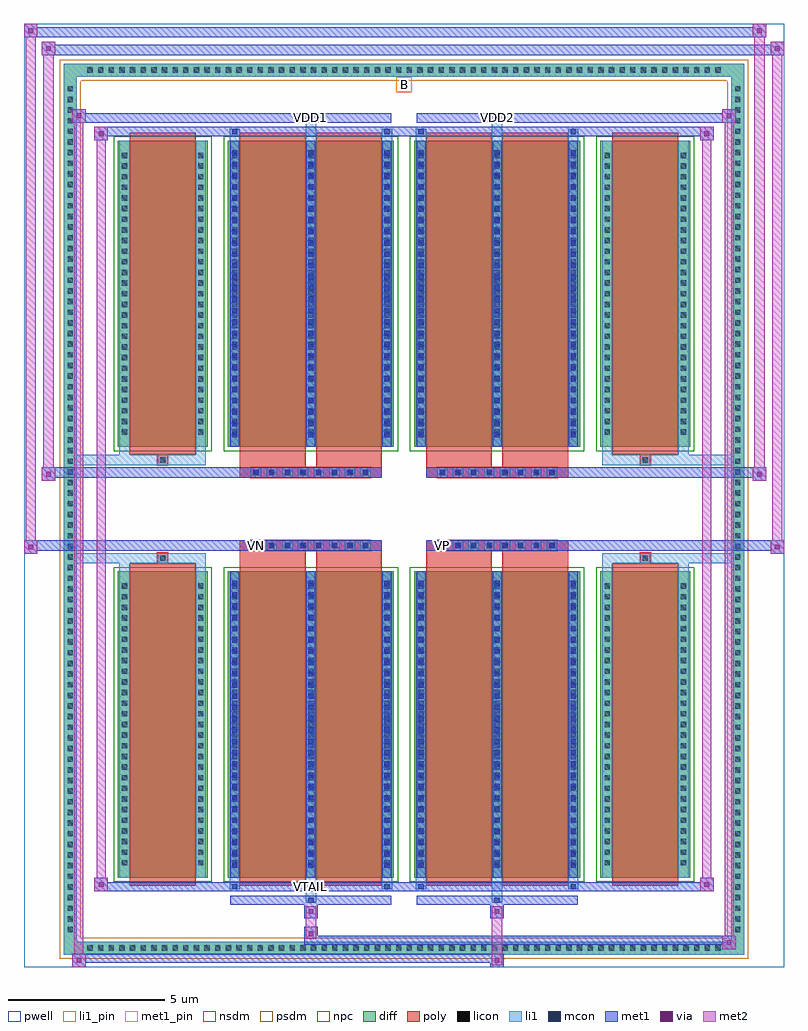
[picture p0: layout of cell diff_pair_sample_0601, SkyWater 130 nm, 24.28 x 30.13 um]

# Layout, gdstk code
import gdstk
lib = gdstk.Library(unit=1e-6, precision=5e-09)
def R(c, l, rs):  # rectangles x0, y0, x1, y1
    for r in rs: c.add(gdstk.rectangle(r[:2], r[2:], *l))
def A(c, l, x, y, w, h, nx, ny, dx, dy):  # array of equal rectangles
    R(c, l, [(x+i*dx, y+j*dy, x+i*dx+w, y+j*dy+h) for i in range(nx) for j in range(ny)])
def P(c, l, *ps):  # polygons
    for p in ps: c.add(gdstk.Polygon(p, *l))
pwell = (64, 44)
diff = (65, 20)
poly = (66, 20)
licon = (66, 44)
li1_pin = (67, 16)
li1 = (67, 20)
mcon = (67, 44)
met1_pin = (68, 16)
met1 = (68, 20)
via = (68, 44)
met2 = (69, 20)
nsdm = (93, 44)
psdm = (94, 20)
npc = (95, 20)

diff_pair_sample_0601 = lib.new_cell('diff_pair_sample_0601')
R(diff_pair_sample_0601, pwell, [(-12.14,-14.63,12.14,15.5), (-9.46,-12.82,-0.01,-0.8), (0.01,-12.82,9.46,-0.8), (-9.46,0.8,-0.01,12.82), (0.01,0.8,9.46,12.82)])
A(diff_pair_sample_0601, diff, -10.235, -14.23, 0.41, 0.41, 60, 2, 0.34, 28.05)
A(diff_pair_sample_0601, diff, -10.87, -13.635, 0.41, 0.41, 1, 80, 0, 0.34)
A(diff_pair_sample_0601, diff, 10.46, -13.635, 0.41, 0.41, 1, 80, 0, 0.34)
R(diff_pair_sample_0601, diff, [(-10.235,-14.23,10.235,-13.82), (-10.87,-13.635,-10.46,13.635), (10.46,-13.635,10.87,13.635), (-9.15,-11.775,-6.27,-1.985), (-5.63,-11.775,-0.32,-1.985), (0.32,-11.775,5.63,-1.985), (6.27,-11.775,9.15,-1.985), (-9.15,1.985,-6.27,11.775), (-5.63,1.985,-0.32,11.775), (0.32,1.985,5.63,11.775), (6.27,1.985,9.15,11.775), (-10.235,13.82,10.235,14.23)])
P(diff_pair_sample_0601, diff, [(10.87,14.23),(-10.87,14.23),(-10.87,-13.82),(-10.46,-13.82),(-10.46,13.82),(10.46,13.82),(10.46,-13.82),(-10.46,-13.82),(-10.87,-13.82),(-10.87,-14.23),(10.87,-14.23)])
A(diff_pair_sample_0601, poly, -4.89, -1.33, 0.33, 0.33, 8, 2, 0.5, 2.33)
A(diff_pair_sample_0601, poly, 1.06, -1.33, 0.33, 0.33, 8, 2, 0.5, 2.33)
R(diff_pair_sample_0601, poly, [(-8.76,-12.025,-6.66,-1.735), (-5.24,-12.025,-3.14,-1.735), (-2.81,-12.025,-0.71,-1.735), (0.71,-12.025,2.81,-1.735), (3.14,-12.025,5.24,-1.735), (6.66,-12.025,8.76,-1.735), (-7.875,-1.735,-7.545,-1.405), (-7.875,-1.735,-7.545,-1.405), (-5.24,-1.735,-3.14,-1.33), (-2.81,-1.735,-0.71,-1.33), (0.71,-1.735,2.81,-1.33), (3.14,-1.735,5.24,-1.33), (7.545,-1.735,7.875,-1.405), (7.545,-1.735,7.875,-1.405), (-5.24,-1.33,-0.71,-1), (0.71,-1.33,5.24,-1), (-5.24,1,-0.71,1.33), (0.71,1,5.24,1.33), (-5.24,1.33,-3.14,1.735), (-2.81,1.33,-0.71,1.735), (0.71,1.33,2.81,1.735), (3.14,1.33,5.24,1.735), (-7.875,1.405,-7.545,1.735), (-7.875,1.405,-7.545,1.735), (7.545,1.405,7.875,1.735), (7.545,1.405,7.875,1.735), (-8.76,1.735,-6.66,12.025), (-5.24,1.735,-3.14,12.025), (-2.81,1.735,-0.71,12.025), (0.71,1.735,2.81,12.025), (3.14,1.735,5.24,12.025), (6.66,1.735,8.76,12.025)])
A(diff_pair_sample_0601, licon, -10.115, -14.11, 0.17, 0.17, 60, 2, 0.34, 28.05)
A(diff_pair_sample_0601, licon, -10.75, -13.515, 0.17, 0.17, 1, 80, 0, 0.34)
A(diff_pair_sample_0601, licon, 10.58, -13.515, 0.17, 0.17, 1, 80, 0, 0.34)
A(diff_pair_sample_0601, licon, -9.01, -11.385, 0.17, 0.17, 1, 27, 0, 0.34)
A(diff_pair_sample_0601, licon, -6.58, -11.385, 0.17, 0.17, 1, 27, 0, 0.34)
A(diff_pair_sample_0601, licon, -5.49, -11.385, 0.17, 0.17, 3, 27, 2.43, 0.34)
A(diff_pair_sample_0601, licon, 0.46, -11.385, 0.17, 0.17, 3, 27, 2.43, 0.34)
A(diff_pair_sample_0601, licon, 6.41, -11.385, 0.17, 0.17, 1, 27, 0, 0.34)
A(diff_pair_sample_0601, licon, 8.84, -11.385, 0.17, 0.17, 1, 27, 0, 0.34)
A(diff_pair_sample_0601, licon, -4.81, -1.25, 0.17, 0.17, 8, 2, 0.5, 2.33)
A(diff_pair_sample_0601, licon, 1.14, -1.25, 0.17, 0.17, 8, 2, 0.5, 2.33)
A(diff_pair_sample_0601, licon, -9.01, 2.375, 0.17, 0.17, 1, 27, 0, 0.34)
A(diff_pair_sample_0601, licon, -6.58, 2.375, 0.17, 0.17, 1, 27, 0, 0.34)
A(diff_pair_sample_0601, licon, -5.49, 2.375, 0.17, 0.17, 3, 27, 2.43, 0.34)
A(diff_pair_sample_0601, licon, 0.46, 2.375, 0.17, 0.17, 3, 27, 2.43, 0.34)
A(diff_pair_sample_0601, licon, 6.41, 2.375, 0.17, 0.17, 1, 27, 0, 0.34)
A(diff_pair_sample_0601, licon, 8.84, 2.375, 0.17, 0.17, 1, 27, 0, 0.34)
R(diff_pair_sample_0601, licon, [(-7.795,-1.655,-7.625,-1.485), (7.625,-1.655,7.795,-1.485), (-7.795,1.485,-7.625,1.655), (7.625,1.485,7.795,1.655)])
R(diff_pair_sample_0601, li1_pin, [(-0.25,13.32,0.25,13.82)])
A(diff_pair_sample_0601, li1, -10.195, -14.19, 0.33, 0.33, 60, 2, 0.34, 28.05)
A(diff_pair_sample_0601, li1, -10.83, -13.595, 0.33, 0.33, 1, 80, 0, 0.34)
A(diff_pair_sample_0601, li1, 10.5, -13.595, 0.33, 0.33, 1, 80, 0, 0.34)
A(diff_pair_sample_0601, li1, -5.57, -11.775, 0.33, 9.79, 3, 2, 2.43, 13.76)
A(diff_pair_sample_0601, li1, 0.38, -11.775, 0.33, 9.79, 3, 2, 2.43, 13.76)
A(diff_pair_sample_0601, li1, -9.09, -11.465, 0.33, 0.33, 1, 27, 0, 0.34)
A(diff_pair_sample_0601, li1, -6.66, -11.465, 0.33, 0.33, 1, 27, 0, 0.34)
A(diff_pair_sample_0601, li1, -5.57, -11.465, 0.33, 0.33, 3, 27, 2.43, 0.34)
A(diff_pair_sample_0601, li1, -5.49, -11.465, 0.17, 0.17, 3, 26, 2.43, 0.36)
A(diff_pair_sample_0601, li1, -5.49, -11.465, 0.17, 9.17, 3, 2, 2.43, 13.76)
A(diff_pair_sample_0601, li1, 0.38, -11.465, 0.33, 0.33, 3, 27, 2.43, 0.34)
A(diff_pair_sample_0601, li1, 0.46, -11.465, 0.17, 0.17, 3, 26, 2.43, 0.36)
A(diff_pair_sample_0601, li1, 0.46, -11.465, 0.17, 9.17, 3, 2, 2.43, 13.76)
A(diff_pair_sample_0601, li1, 6.33, -11.465, 0.33, 0.33, 1, 27, 0, 0.34)
A(diff_pair_sample_0601, li1, 8.76, -11.465, 0.33, 0.33, 1, 27, 0, 0.34)
A(diff_pair_sample_0601, li1, -4.89, -1.33, 0.33, 0.33, 8, 2, 0.5, 2.33)
A(diff_pair_sample_0601, li1, 1.06, -1.33, 0.33, 0.33, 8, 2, 0.5, 2.33)
A(diff_pair_sample_0601, li1, -9.09, 2.295, 0.33, 0.33, 1, 27, 0, 0.34)
A(diff_pair_sample_0601, li1, -6.66, 2.295, 0.33, 0.33, 1, 27, 0, 0.34)
A(diff_pair_sample_0601, li1, -5.57, 2.295, 0.33, 0.33, 3, 27, 2.43, 0.34)
A(diff_pair_sample_0601, li1, -5.49, 2.295, 0.17, 0.17, 3, 26, 2.43, 0.36)
A(diff_pair_sample_0601, li1, 0.38, 2.295, 0.33, 0.33, 3, 27, 2.43, 0.34)
A(diff_pair_sample_0601, li1, 0.46, 2.295, 0.17, 0.17, 3, 26, 2.43, 0.36)
A(diff_pair_sample_0601, li1, 6.33, 2.295, 0.33, 0.33, 1, 27, 0, 0.34)
A(diff_pair_sample_0601, li1, 8.76, 2.295, 0.33, 0.33, 1, 27, 0, 0.34)
R(diff_pair_sample_0601, li1, [(-10.87,-14.23,-10.46,-13.82), (-10.87,-14.23,-10.46,-13.82), (-10.46,-14.23,10.46,-13.82), (10.46,-14.23,10.87,-13.82), (10.46,-14.23,10.87,-13.82), (-10.87,-13.82,-10.46,13.82), (10.46,-13.82,10.87,13.82), (-3.14,-12.58,-2.81,-11.775), (-3.06,-12.58,-2.89,-12.41), (2.81,-12.58,3.14,-11.775), (2.89,-12.58,3.06,-12.41), (-5.57,-12.15,-5.24,-11.775), (-5.49,-12.15,-5.32,-11.98), (-0.71,-12.15,-0.38,-11.775), (-0.63,-12.15,-0.46,-11.98), (0.38,-12.15,0.71,-11.775), (0.46,-12.15,0.63,-11.98), (5.24,-12.15,5.57,-11.775), (5.32,-12.15,5.49,-11.98), (-9.09,-11.775,-8.76,-1.985), (-6.66,-11.775,-6.33,-1.985), (6.33,-11.775,6.66,-1.985), (8.76,-11.775,9.09,-1.985), (-9.09,-1.985,-8.76,-1.405), (-6.66,-1.985,-6.33,-1.405), (6.33,-1.985,6.66,-1.405), (8.76,-1.985,9.09,-1.405), (-10.87,-1.735,-7.875,-1.405), (-9.09,-1.735,-7.875,-1.405), (-7.875,-1.735,-7.545,-1.405), (-7.545,-1.735,-6.33,-1.405), (6.33,-1.735,7.545,-1.405), (7.545,-1.735,7.875,-1.405), (7.545,-1.735,10.87,-1.405), (7.875,-1.735,9.09,-1.405), (-10.87,1.405,-7.875,1.735), (-9.09,1.405,-7.875,1.735), (-9.09,1.405,-8.76,1.985), (-7.875,1.405,-7.545,1.735), (-7.545,1.405,-6.33,1.735), (-6.66,1.405,-6.33,1.985), (6.33,1.405,7.545,1.735), (6.33,1.405,6.66,1.985), (7.545,1.405,7.875,1.735), (7.545,1.405,10.87,1.735), (7.875,1.405,9.09,1.735), (8.76,1.405,9.09,1.985), (-9.09,1.985,-8.76,11.775), (-6.66,1.985,-6.33,11.775), (6.33,1.985,6.66,11.775), (8.76,1.985,9.09,11.775), (-5.57,11.775,-5.24,12.15), (-3.14,11.775,-2.81,12.58), (-0.71,11.775,-0.38,12.15), (0.38,11.775,0.71,12.15), (2.81,11.775,3.14,12.58), (5.24,11.775,5.57,12.15), (-5.49,11.98,-5.32,12.15), (-0.63,11.98,-0.46,12.15), (0.46,11.98,0.63,12.15), (5.32,11.98,5.49,12.15), (-3.06,12.41,-2.89,12.58), (2.89,12.41,3.06,12.58), (-10.87,13.82,-10.46,14.23), (-10.87,13.82,-10.46,14.23), (-10.46,13.82,10.46,14.23), (10.46,13.82,10.87,14.23), (10.46,13.82,10.87,14.23)])
A(diff_pair_sample_0601, mcon, -5.49, -11.465, 0.17, 0.17, 3, 26, 2.43, 0.36)
A(diff_pair_sample_0601, mcon, 0.46, -11.465, 0.17, 0.17, 3, 26, 2.43, 0.36)
A(diff_pair_sample_0601, mcon, -4.81, -1.25, 0.17, 0.17, 8, 2, 0.5, 2.33)
A(diff_pair_sample_0601, mcon, 1.14, -1.25, 0.17, 0.17, 8, 2, 0.5, 2.33)
A(diff_pair_sample_0601, mcon, -5.49, 2.295, 0.17, 0.17, 3, 26, 2.43, 0.36)
A(diff_pair_sample_0601, mcon, 0.46, 2.295, 0.17, 0.17, 3, 26, 2.43, 0.36)
R(diff_pair_sample_0601, mcon, [(-3.06,-12.58,-2.89,-12.41), (2.89,-12.58,3.06,-12.41), (-5.49,-12.15,-5.32,-11.98), (-0.63,-12.15,-0.46,-11.98), (0.46,-12.15,0.63,-11.98), (5.32,-12.15,5.49,-11.98), (-5.49,11.98,-5.32,12.15), (-0.63,11.98,-0.46,12.15), (0.46,11.98,0.63,12.15), (5.32,11.98,5.49,12.15), (-3.06,12.41,-2.89,12.58), (2.89,12.41,3.06,12.58)])
R(diff_pair_sample_0601, met1_pin, [(-3.11,-12.19,-2.84,-11.92), (-4.86,-1.29,-4.59,-1.02), (1.09,-1.29,1.36,-1.02), (-3.11,12.37,-2.84,12.64), (2.84,12.37,3.11,12.64)])
A(diff_pair_sample_0601, met1, -5.55, -11.775, 0.29, 9.79, 3, 2, 2.43, 13.76)
A(diff_pair_sample_0601, met1, 0.4, -11.775, 0.29, 9.79, 3, 2, 2.43, 13.76)
A(diff_pair_sample_0601, met1, -5.55, -11.525, 0.29, 0.29, 3, 26, 2.43, 0.36)
A(diff_pair_sample_0601, met1, 0.4, -11.525, 0.29, 0.29, 3, 26, 2.43, 0.36)
A(diff_pair_sample_0601, met1, -4.87, -1.31, 0.29, 0.29, 8, 2, 0.5, 2.33)
A(diff_pair_sample_0601, met1, 1.08, -1.31, 0.29, 0.29, 8, 2, 0.5, 2.33)
A(diff_pair_sample_0601, met1, -5.55, 2.235, 0.29, 0.29, 3, 26, 2.43, 0.36)
A(diff_pair_sample_0601, met1, 0.4, 2.235, 0.29, 0.29, 3, 26, 2.43, 0.36)
R(diff_pair_sample_0601, met1, [(-10.6,-14.63,-10.17,-14.2), (2.76,-14.63,3.19,-14.2), (-10.6,-14.49,3.19,-14.2), (10.17,-14.06,10.6,-13.63), (-3.19,-13.92,10.6,-13.63), (-3.19,-13.78,-2.76,-13.35), (-3.19,-13.07,-2.76,-12.64), (2.76,-13.07,3.19,-12.64), (-5.55,-12.64,-0.4,-12.35), (-3.12,-12.64,-2.83,-12.35), (0.4,-12.64,5.55,-12.35), (2.83,-12.64,3.12,-12.35), (-9.89,-12.21,-9.46,-11.78), (-9.89,-12.21,-5.55,-11.92), (-5.55,-12.21,-5.26,-11.92), (-5.55,-12.21,-0.4,-11.92), (-0.69,-12.21,-0.4,-11.92), (-0.4,-12.21,0.4,-11.92), (0.4,-12.21,0.69,-11.92), (0.4,-12.21,5.55,-11.92), (5.26,-12.21,5.55,-11.92), (5.55,-12.21,9.89,-11.92), (9.46,-12.21,9.89,-11.78), (-12.14,-1.43,-11.71,-1), (11.71,-1.43,12.14,-1), (-12.14,-1.33,-0.71,-1), (-5.24,-1.33,-0.71,-1), (0.71,-1.33,5.24,-1), (0.71,-1.33,12.14,-1), (-11.57,0.9,-11.14,1.33), (11.14,0.9,11.57,1.33), (-11.57,1,-5.24,1.33), (-5.24,1,-0.71,1.33), (0.71,1,5.24,1.33), (5.24,1,11.57,1.33), (-9.89,11.78,-9.46,12.21), (9.46,11.78,9.89,12.21), (-9.89,11.92,-5.55,12.21), (-5.55,11.92,-5.26,12.21), (-5.55,11.92,-0.4,12.21), (-0.69,11.92,-0.4,12.21), (-0.4,11.92,0.4,12.21), (0.4,11.92,0.69,12.21), (0.4,11.92,5.55,12.21), (5.26,11.92,5.55,12.21), (5.55,11.92,9.89,12.21), (-10.6,12.35,-10.17,12.78), (-10.6,12.35,-5.55,12.64), (-5.55,12.35,-0.4,12.64), (-3.12,12.35,-2.83,12.64), (0.4,12.35,5.55,12.64), (2.83,12.35,3.12,12.64), (5.55,12.35,10.6,12.64), (10.17,12.35,10.6,12.78), (-11.57,14.5,-11.14,14.93), (-11.57,14.5,-9.46,14.83), (-9.46,14.5,9.46,14.83), (9.46,14.5,12.14,14.83), (11.71,14.5,12.14,14.93), (-12.14,15.07,-11.71,15.5), (-12.14,15.07,-9.46,15.4), (-9.46,15.07,9.46,15.4), (9.46,15.07,11.57,15.4), (11.14,15.07,11.57,15.5)])
R(diff_pair_sample_0601, via, [(-10.46,-14.49,-10.31,-14.34), (2.9,-14.49,3.05,-14.34), (10.31,-13.92,10.46,-13.77), (-3.05,-13.64,-2.9,-13.49), (-3.05,-12.93,-2.9,-12.78), (2.9,-12.93,3.05,-12.78), (-9.75,-12.07,-9.6,-11.92), (9.6,-12.07,9.75,-11.92), (-12,-1.29,-11.85,-1.14), (11.85,-1.29,12,-1.14), (-11.43,1.04,-11.28,1.19), (11.28,1.04,11.43,1.19), (-9.75,11.92,-9.6,12.07), (9.6,11.92,9.75,12.07), (-10.46,12.49,-10.31,12.64), (10.31,12.49,10.46,12.64), (-11.43,14.64,-11.28,14.79), (11.85,14.64,12,14.79), (-12,15.21,-11.85,15.36), (11.28,15.21,11.43,15.36)])
R(diff_pair_sample_0601, met2, [(-10.6,-14.63,-10.17,-14.2), (-10.53,-14.63,-10.24,12.78), (-10.24,-14.63,-10.17,-14.2), (-10.55,-14.58,-10.22,-14.25), (2.81,-14.58,3.14,-14.25), (2.81,-14.25,3.14,-13.02), (10.17,-14.06,10.6,-13.63), (10.24,-14.06,10.53,12.78), (10.53,-14.06,10.6,-13.63), (10.22,-14.01,10.55,-13.68), (-3.14,-13.73,-2.81,-13.4), (-3.14,-13.4,-2.81,-13.02), (-3.14,-13.02,-2.81,-12.69), (2.81,-13.02,3.14,-12.69), (-9.89,-12.21,-9.46,-11.78), (-9.82,-12.21,-9.53,12.21), (-9.53,-12.21,-9.46,-11.78), (9.46,-12.21,9.89,-11.78), (9.53,-12.21,9.82,12.21), (9.82,-12.21,9.89,-11.78), (-9.84,-12.16,-9.51,-11.83), (9.51,-12.16,9.84,-11.83), (-12.14,-1.43,-11.71,-1), (-12.09,-1.43,-11.76,15.5), (-11.76,-1.43,-11.71,-1), (11.71,-1.43,12.14,-1), (11.76,-1.43,12.09,14.93), (12.09,-1.43,12.14,-1), (-12.09,-1.38,-11.76,-1.05), (11.76,-1.38,12.09,-1.05), (-11.57,0.9,-11.14,1.33), (-11.52,0.9,-11.19,14.93), (-11.19,0.9,-11.14,1.33), (11.14,0.9,11.57,1.33), (11.19,0.9,11.52,15.5), (11.52,0.9,11.57,1.33), (-11.52,0.95,-11.19,1.28), (11.19,0.95,11.52,1.28), (-9.89,11.78,-9.46,12.21), (-9.53,11.78,-9.46,12.21), (9.46,11.78,9.89,12.21), (9.82,11.78,9.89,12.21), (-9.84,11.83,-9.51,12.16), (9.51,11.83,9.84,12.16), (-10.6,12.35,-10.17,12.78), (-10.24,12.35,-10.17,12.78), (10.17,12.35,10.6,12.78), (10.53,12.35,10.6,12.78), (-10.55,12.4,-10.22,12.73), (10.22,12.4,10.55,12.73), (-11.57,14.5,-11.14,14.93), (-11.19,14.5,-11.14,14.93), (11.71,14.5,12.14,14.93), (12.09,14.5,12.14,14.93), (-11.52,14.55,-11.19,14.88), (11.76,14.55,12.09,14.88), (-12.14,15.07,-11.71,15.5), (-11.76,15.07,-11.71,15.5), (11.14,15.07,11.57,15.5), (11.52,15.07,11.57,15.5), (-12.09,15.12,-11.76,15.45), (11.19,15.12,11.52,15.45)])
R(diff_pair_sample_0601, nsdm, [(-9.28,-11.905,-6.14,-1.855), (-5.76,-11.905,-0.19,-1.855), (0.19,-11.905,5.76,-1.855), (6.14,-11.905,9.28,-1.855), (-9.28,1.855,-6.14,11.905), (-5.76,1.855,-0.19,11.905), (0.19,1.855,5.76,11.905), (6.14,1.855,9.28,11.905)])
P(diff_pair_sample_0601, psdm, [(11,14.36),(-11,14.36),(-11,-13.69),(-10.33,-13.69),(-10.33,13.69),(10.33,13.69),(10.33,-13.69),(-10.33,-13.69),(-11,-13.69),(-11,-14.36),(11,-14.36)])
A(diff_pair_sample_0601, npc, -4.91, -1.35, 0.37, 0.37, 8, 2, 0.5, 2.33)
A(diff_pair_sample_0601, npc, 1.04, -1.35, 0.37, 0.37, 8, 2, 0.5, 2.33)
R(diff_pair_sample_0601, npc, [(-7.895,-1.755,-7.525,-1.385), (7.525,-1.755,7.895,-1.385), (-4.91,-1.35,-4.04,-0.98), (-4.91,-1.35,-4.04,-0.98), (-4.41,-1.35,-3.54,-0.98), (-4.41,-1.35,-3.54,-0.98), (-3.91,-1.35,-3.04,-0.98), (-3.91,-1.35,-3.04,-0.98), (-3.41,-1.35,-2.54,-0.98), (-3.41,-1.35,-2.54,-0.98), (-2.91,-1.35,-2.04,-0.98), (-2.91,-1.35,-2.04,-0.98), (-2.41,-1.35,-1.54,-0.98), (-2.41,-1.35,-1.54,-0.98), (-1.91,-1.35,-1.04,-0.98), (-1.91,-1.35,-1.04,-0.98), (1.04,-1.35,1.91,-0.98), (1.04,-1.35,1.91,-0.98), (1.54,-1.35,2.41,-0.98), (1.54,-1.35,2.41,-0.98), (2.04,-1.35,2.91,-0.98), (2.04,-1.35,2.91,-0.98), (2.54,-1.35,3.41,-0.98), (2.54,-1.35,3.41,-0.98), (3.04,-1.35,3.91,-0.98), (3.04,-1.35,3.91,-0.98), (3.54,-1.35,4.41,-0.98), (3.54,-1.35,4.41,-0.98), (4.04,-1.35,4.91,-0.98), (4.04,-1.35,4.91,-0.98), (-4.91,0.98,-4.04,1.35), (-4.91,0.98,-4.04,1.35), (-4.41,0.98,-3.54,1.35), (-4.41,0.98,-3.54,1.35), (-3.91,0.98,-3.04,1.35), (-3.91,0.98,-3.04,1.35), (-3.41,0.98,-2.54,1.35), (-3.41,0.98,-2.54,1.35), (-2.91,0.98,-2.04,1.35), (-2.91,0.98,-2.04,1.35), (-2.41,0.98,-1.54,1.35), (-2.41,0.98,-1.54,1.35), (-1.91,0.98,-1.04,1.35), (-1.91,0.98,-1.04,1.35), (1.04,0.98,1.91,1.35), (1.04,0.98,1.91,1.35), (1.54,0.98,2.41,1.35), (1.54,0.98,2.41,1.35), (2.04,0.98,2.91,1.35), (2.04,0.98,2.91,1.35), (2.54,0.98,3.41,1.35), (2.54,0.98,3.41,1.35), (3.04,0.98,3.91,1.35), (3.04,0.98,3.91,1.35), (3.54,0.98,4.41,1.35), (3.54,0.98,4.41,1.35), (4.04,0.98,4.91,1.35), (4.04,0.98,4.91,1.35), (-7.895,1.385,-7.525,1.755), (7.525,1.385,7.895,1.755)])
diff_pair_sample_0601.add(gdstk.Label('VTAIL', (-2.975,-12.055), layer=68, texttype=5))
diff_pair_sample_0601.add(gdstk.Label('VN', (-4.725,-1.155), layer=68, texttype=5))
diff_pair_sample_0601.add(gdstk.Label('VP', (1.225,-1.155), layer=68, texttype=5))
diff_pair_sample_0601.add(gdstk.Label('B', (0,13.57), layer=67, texttype=5))
diff_pair_sample_0601.add(gdstk.Label('VDD2', (2.975,12.505), layer=68, texttype=5))
diff_pair_sample_0601.add(gdstk.Label('VDD1', (-2.975,12.505), layer=68, texttype=5))

lib.write_gds('diff_pair_sample_0601.gds')
